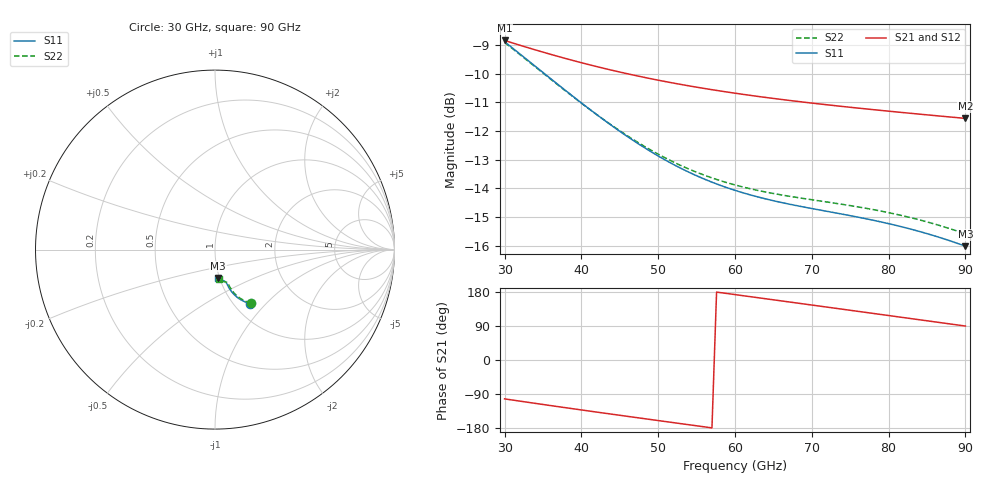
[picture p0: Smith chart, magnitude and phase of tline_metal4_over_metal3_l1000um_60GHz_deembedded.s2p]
! Created with skrf 2.0.1 (http://scikit-rf.org).
# GHz S DB R 50.0
!freq dBS11 angS11 dBS21 angS21 dBS12 angS12 dBS22 angS22
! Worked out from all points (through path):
!   101 points, 30 GHz to 90 GHz, reference 50 ohm
!   highest |S21| = -8.84 dB at 30 GHz (marker M1); lowest = -11.6 dB at 90 GHz (marker M2)
!   group delay of S21, straight-line fit = 7.72 ps
!   lowest |S11| = -16.0 dB at 90 GHz (marker M3), VSWR 1.38, Z = 49.1 - j15.9 ohm
!   |S11| at or under -10 dB: 35.2 GHz to end of sweep
!   |S22| runs from -15.6 to -8.9 dB; largest |S21 - S12| = 5.8e-13
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30  -8.89 -57.0  -8.84 -102.6  -8.84 -102.6  -8.91 -56.3
33  -9.53 -60.4  -9.09 -111.5  -9.09 -111.5  -9.55 -59.5
35.4  -10.04 -62.7  -9.28 -118.6  -9.28 -118.6  -10.06 -61.7
37.8  -10.56 -64.6  -9.46 -125.5  -9.46 -125.5  -10.57 -63.5
40.2  -11.06 -66.3  -9.63 -132.4  -9.63 -132.4  -11.07 -65.0
42.6  -11.55 -67.6  -9.79 -139.2  -9.79 -139.2  -11.54 -66.2
45  -12.01 -68.6  -9.94 -145.9  -9.94 -145.9  -11.99 -67.1
47.4  -12.44 -69.3  -10.08 -152.6  -10.08 -152.6  -12.40 -67.7
50.4  -12.93 -70.0  -10.25 -160.9  -10.25 -160.9  -12.86 -68.2
52.8  -13.28 -70.3  -10.37 -167.6  -10.37 -167.6  -13.18 -68.4
55.2  -13.58 -70.6  -10.48 -174.2  -10.48 -174.2  -13.46 -68.6
57.6  -13.84 -70.8  -10.58 179.2  -10.58 179.2  -13.69 -68.8
60  -14.07 -71.0  -10.68 172.6  -10.68 172.6  -13.88 -69.0
64.8  -14.42 -71.8  -10.86 159.4  -10.86 159.4  -14.17 -69.8
67.2  -14.56 -72.3  -10.94 152.8  -10.94 152.8  -14.28 -70.5
70.2  -14.71 -73.3  -11.03 144.5  -11.03 144.5  -14.40 -71.5
73.2  -14.86 -74.5  -11.12 136.2  -11.12 136.2  -14.52 -72.8
75.6  -14.98 -75.6  -11.19 129.5  -11.19 129.5  -14.63 -74.1
80.4  -15.25 -78.2  -11.32 116.2  -11.32 116.2  -14.87 -76.9
85.2  -15.59 -81.1  -11.44 102.9  -11.44 102.9  -15.18 -80.0
87.6  -15.79 -82.5  -11.50 96.3  -11.50 96.3  -15.37 -81.6
90  -16.01 -84.0  -11.56 89.6  -11.56 89.6  -15.58 -83.2
